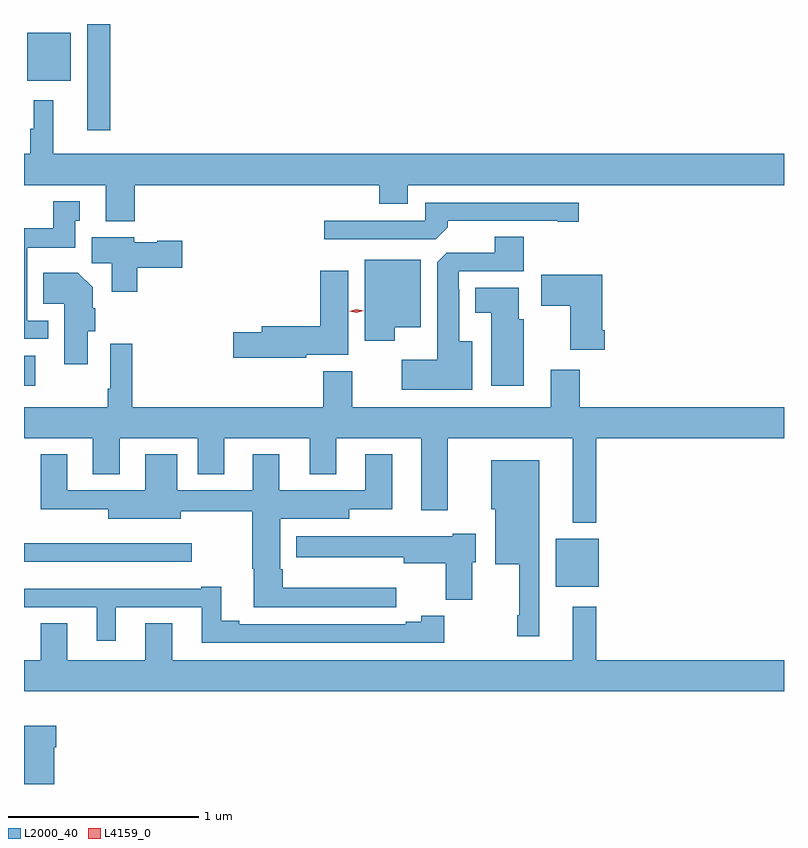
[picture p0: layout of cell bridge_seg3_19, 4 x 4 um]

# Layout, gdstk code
import gdstk
lib = gdstk.Library(unit=1e-6, precision=1e-09)
def R(c, l, rs):  # rectangles x0, y0, x1, y1
    for r in rs: c.add(gdstk.rectangle(r[:2], r[2:], *l))
def P(c, l, *ps):  # polygons
    for p in ps: c.add(gdstk.Polygon(p, *l))
L2000_40 = (2000, 40)
L4159_0 = (4159, 0)

bridge_seg3_19 = lib.new_cell('bridge_seg3_19')
R(bridge_seg3_19, L2000_40, [(783.527,726.773,783.754,727.027), (780.728,726.905,781.612,727.003), (780.728,727.832,780.787,727.99), (781.061,729.177,781.183,729.736), (780.746,729.437,780.973,729.691)])
P(bridge_seg3_19, L2000_40, [(781.31,728.888),(782.597,728.888),(782.597,728.789),(782.749,728.789),(782.749,728.888),(784.728,728.888),(784.728,729.052),(780.883,729.052),(780.883,729.334),(780.779,729.334),(780.779,729.185),(780.762,729.185),(780.762,729.052),(780.728,729.052),(780.728,728.888),(781.157,728.888),(781.157,728.699),(781.31,728.699)],
  [(780.856,728.175),(780.744,728.175),(780.744,728.558),(780.997,728.558),(780.997,728.7),(781.021,728.7),(781.021,728.803),(780.881,728.803),(780.881,728.662),(780.728,728.662),(780.728,728.079),(780.856,728.079)],
  [(782.957,728.666),(782.957,728.7),(783.536,728.7),(783.536,728.695),(783.649,728.695),(783.649,728.796),(782.841,728.796),(782.841,728.7),(782.307,728.7),(782.307,728.604),(782.895,728.604)],
  [(783.088,728.065),(783.019,728.065),(783.019,728.339),(783.015,728.339),(783.015,728.436),(783.359,728.436),(783.359,728.615),(783.206,728.615),(783.206,728.532),(782.952,728.532),(782.903,728.483),(782.903,727.969),(782.715,727.969),(782.715,727.811),(783.088,727.811)],
  [(781.325,728.453),(781.561,728.453),(781.561,728.595),(781.428,728.595),(781.428,728.587),(781.308,728.587),(781.308,728.614),(781.085,728.614),(781.085,728.476),(781.19,728.476),(781.19,728.328),(781.325,728.328)],
  [(782.68,728.141),(782.815,728.141),(782.815,728.494),(782.522,728.494),(782.522,728.07),(782.68,728.07)],
  [(782.214,727.994),(782.434,727.994),(782.434,728.437),(782.288,728.437),(782.288,728.144),(781.979,728.144),(781.979,728.114),(781.83,728.114),(781.83,727.979),(782.214,727.979)],
  [(781.063,728.118),(781.103,728.118),(781.103,728.24),(781.09,728.24),(781.09,728.35),(781.012,728.428),(780.829,728.428),(780.829,728.264),(780.941,728.264),(780.941,727.944),(781.063,727.944)],
  [(783.785,728.125),(783.772,728.125),(783.772,728.416),(783.45,728.416),(783.45,728.254),(783.602,728.254),(783.602,728.021),(783.785,728.021)],
  [(783.358,728.181),(783.331,728.181),(783.331,728.347),(783.104,728.347),(783.104,728.216),(783.188,728.216),(783.188,727.833),(783.358,727.833)],
  [(783.739,727.556),(784.728,727.556),(784.728,727.72),(783.653,727.72),(783.653,727.915),(783.5,727.915),(783.5,727.72),(782.455,727.72),(782.455,727.909),(782.303,727.909),(782.303,727.72),(781.298,727.72),(781.298,728.053),(781.182,728.053),(781.182,727.816),(781.17,727.816),(781.17,727.72),(780.728,727.72),(780.728,727.556),(781.091,727.556),(781.091,727.367),(781.231,727.367),(781.231,727.556),(781.643,727.556),(781.643,727.367),(781.783,727.367),(781.783,727.556),(782.231,727.556),(782.231,727.367),(782.371,727.367),(782.371,727.556),(782.819,727.556),(782.819,727.176),(782.959,727.176),(782.959,727.556),(783.617,727.556),(783.617,727.112),(783.739,727.112)],
  [(782.686,726.769),(782.09,726.769),(782.09,726.865),(782.077,726.865),(782.077,727.133),(782.44,727.133),(782.44,727.181),(782.665,727.181),(782.665,727.471),(782.525,727.471),(782.525,727.282),(782.071,727.282),(782.071,727.471),(781.931,727.471),(781.931,727.282),(781.534,727.282),(781.534,727.471),(781.367,727.471),(781.367,727.282),(780.955,727.282),(780.955,727.471),(780.815,727.471),(780.815,727.181),(781.172,727.181),(781.172,727.133),(781.552,727.133),(781.552,727.171),(781.93,727.171),(781.93,726.869),(781.937,726.869),(781.937,726.665),(782.686,726.665)],
  [(783.439,727.441),(783.188,727.441),(783.188,727.182),(783.209,727.182),(783.209,726.893),(783.335,726.893),(783.335,726.625),(783.325,726.625),(783.325,726.513),(783.439,726.513)],
  [(783.088,726.903),(783.106,726.903),(783.106,727.052),(782.984,727.052),(782.984,727.039),(782.162,727.039),(782.162,726.929),(782.726,726.929),(782.726,726.899),(782.948,726.899),(782.948,726.707),(783.088,726.707)],
  [(782.94,726.622),(782.819,726.622),(782.819,726.589),(782.738,726.589),(782.738,726.576),(781.861,726.576),(781.861,726.596),(781.765,726.596),(781.765,726.775),(781.661,726.775),(781.661,726.763),(780.728,726.763),(780.728,726.666),(781.112,726.666),(781.112,726.489),(781.21,726.489),(781.21,726.666),(781.664,726.666),(781.664,726.48),(782.94,726.48)],
  [(784.728,726.388),(783.739,726.388),(783.739,726.67),(783.617,726.67),(783.617,726.388),(781.507,726.388),(781.507,726.581),(781.367,726.581),(781.367,726.388),(780.955,726.388),(780.955,726.581),(780.815,726.581),(780.815,726.388),(780.728,726.388),(780.728,726.224),(784.728,726.224)],
  [(780.886,725.93),(780.899,725.93),(780.899,726.043),(780.728,726.043),(780.728,725.736),(780.886,725.736)])
P(bridge_seg3_19, L4159_0, [(782.478,728.216),(782.439,728.225),(782.439,728.225),(782.439,728.225),(782.477,728.236),(782.516,728.227),(782.516,728.227),(782.516,728.227)])

lib.write_gds('bridge_seg3_19.gds')
